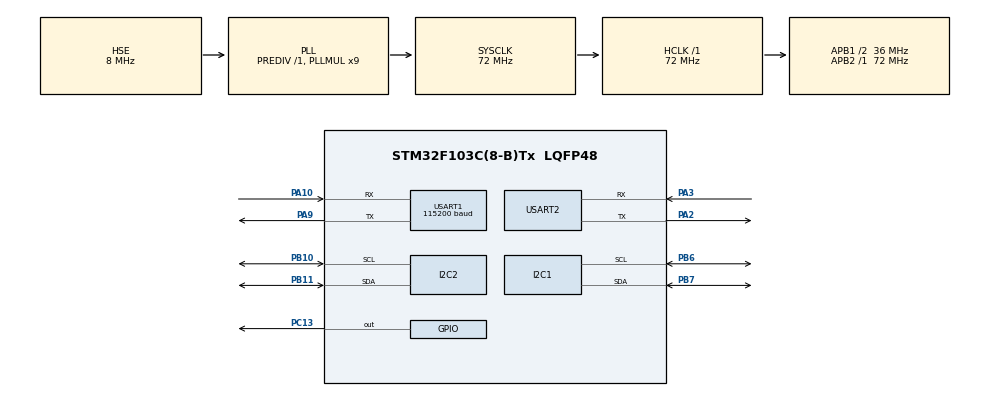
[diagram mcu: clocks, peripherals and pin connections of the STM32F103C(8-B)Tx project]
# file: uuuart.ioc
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Mcu.Family=STM32F1
Mcu.Name=STM32F103C(8-B)Tx
Mcu.Package=LQFP48
NVIC.PriorityGroup=NVIC_PRIORITYGROUP_4
NVIC.USART1_IRQn=true\:0\:0\:false\:false\:true\:true\:true
NVIC.USART2_IRQn=true\:0\:0\:false\:false\:true\:true\:true
PA10.Mode=Asynchronous
PA10.Signal=USART1_RX
PA13.Mode=Trace_Asynchronous_SW
PA13.Signal=SYS_JTMS-SWDIO
PA14.Mode=Trace_Asynchronous_SW
PA14.Signal=SYS_JTCK-SWCLK
PA2.Mode=Asynchronous
PA2.Signal=USART2_TX
PA3.Mode=Asynchronous
PA3.Signal=USART2_RX
PA9.Mode=Asynchronous
PA9.Signal=USART1_TX
PB10.Mode=I2C
PB10.Signal=I2C2_SCL
PB11.Mode=I2C
PB11.Signal=I2C2_SDA
PB3.Mode=Trace_Asynchronous_SW
PB3.Signal=SYS_JTDO-TRACESWO
PB6.Mode=I2C
PB6.Signal=I2C1_SCL
PB7.Mode=I2C
PB7.Signal=I2C1_SDA
PC13-TAMPER-RTC.GPIO_ModeDefaultOutputPP=GPIO_MODE_OUTPUT_PP
PC13-TAMPER-RTC.GPIO_Speed=GPIO_SPEED_FREQ_HIGH
PC13-TAMPER-RTC.PinState=GPIO_PIN_SET
PC13-TAMPER-RTC.Signal=GPIO_Output
PD0-OSC_IN.Mode=HSE-External-Oscillator
PD0-OSC_IN.Signal=RCC_OSC_IN
PD1-OSC_OUT.Mode=HSE-External-Oscillator
PD1-OSC_OUT.Signal=RCC_OSC_OUT
ProjectManager.HeapSize=0x200
ProjectManager.StackSize=0x400
ProjectManager.TargetToolchain=STM32CubeIDE
RCC.AHBFreq_Value=72000000
RCC.APB1CLKDivider=RCC_HCLK_DIV2
RCC.APB1Freq_Value=36000000
RCC.APB1TimFreq_Value=72000000
RCC.APB2Freq_Value=72000000
RCC.APB2TimFreq_Value=72000000
RCC.HCLKFreq_Value=72000000
RCC.PLLMUL=RCC_PLL_MUL9
RCC.PLLSourceVirtual=RCC_PLLSOURCE_HSE
RCC.SYSCLKFreq_VALUE=72000000
RCC.SYSCLKSource=RCC_SYSCLKSOURCE_PLLCLK
RCC.USBFreq_Value=72000000
USART1.BaudRate=115200
USART1.VirtualMode=VM_ASYNC
USART2.VirtualMode=VM_ASYNC
board=custom

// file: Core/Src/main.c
/* USER CODE BEGIN Header */
/**
  ******************************************************************************
  * @file           : main.c
  * @brief          : Main program body
  ******************************************************************************
  * @attention
  *
  * <h2><center>&copy; Copyright (c) 2021 STMicroelectronics.
  * All rights reserved.</center></h2>
  *
  * This software component is licensed by ST under BSD 3-Clause license,
  * the "License"; You may not use this file except in compliance with the
  * License. You may obtain a copy of the License at:
  *                        opensource.org/licenses/BSD-3-Clause
  *
  ******************************************************************************
  */
/* USER CODE END Header */
#include "main.h"

/* USER CODE BEGIN Includes */
#include "mlx90614.h"
#include "max30100.h"
/* USER CODE END Includes */

I2C_HandleTypeDef hi2c1;
I2C_HandleTypeDef hi2c2;

UART_HandleTypeDef huart1;
UART_HandleTypeDef huart2;

void SystemClock_Config(void);
static void MX_GPIO_Init(void);
static void MX_USART1_UART_Init(void);
static void MX_I2C1_Init(void);
static void MX_I2C2_Init(void);
static void MX_USART2_UART_Init(void);

/* USER CODE BEGIN 0 */
float temp_obj1=0 ;
float temp_amb=0 ;
uint16_t t_amb =0;
uint16_t t_amb_sum =0;
uint16_t t_amb_sum1 =0;
uint16_t t_d_sum1 =0;
uint8_t data_spo2_ir=0;
uint8_t data_spo2=0;
uint8_t data_ir=0;
uint8_t data_temp=0;
uint8_t data_temp_amb=0;
//uint16_t t_d[30]={0};
uint16_t t_d=0;
uint16_t t_d_sum =0;
uint16_t ir=0;
uint16_t spo2=0;
uint16_t t=0;
uint8_t counter=1+'0';
uint8_t MAX30100_Start_Flag=1+'0';
uint8_t SPO2_Flag=2+'0';
uint8_t HR_Flag=3+'0';
uint8_t TempTip_StartFlag=4+'0';
uint8_t TempTip_BodyFlag=5+'0';
uint8_t TempTip_AmpFlag=6+'0';
uint8_t TempRest_StartFlag=7+'0';
uint8_t TempRest_BodyFlag=8+'0';
uint8_t TempRest_AmbFlag=9+'0';
HAL_StatusTypeDef r_data_spo2_ir;
/* USER CODE END 0 */

int main(void)
{

  /* MCU Configuration--------------------------------------------------------*/

  /* Reset of all peripherals, Initializes the Flash interface and the Systick. */
  HAL_Init();

  /* Configure the system clock */
  SystemClock_Config();

  /* Initialize all configured peripherals */
  MX_GPIO_Init();
  MX_USART1_UART_Init();
  MX_I2C1_Init();
  MX_I2C2_Init();
  MX_USART2_UART_Init();
  /* USER CODE BEGIN 2 */
  MLX90614_ReadReg(MLX90614_DEFAULT_SA, MLX90614_TOMIN, MLX90614_DBG_ON);
  MLX90614_ReadReg(MLX90614_DEFAULT_SA, MLX90614_TOMAX, MLX90614_DBG_ON);
  MLX90614_ReadReg(MLX90614_DEFAULT_SA, MLX90614_PWMCTRL, MLX90614_DBG_ON);
  MLX90614_ReadReg(MLX90614_DEFAULT_SA, MLX90614_TARANGE, MLX90614_DBG_ON);
  MLX90614_ReadReg(MLX90614_DEFAULT_SA, MLX90614_EMISSIVITY, MLX90614_DBG_ON);
  MLX90614_ReadReg(MLX90614_DEFAULT_SA, MLX90614_CFG1, MLX90614_DBG_ON);
  MLX90614_ReadReg(MLX90614_DEFAULT_SA, MLX90614_SA, MLX90614_DBG_ON);
  MLX90614_ReadReg(MLX90614_DEFAULT_SA, MLX90614_ID1, MLX90614_DBG_ON);
  MLX90614_ReadReg(MLX90614_DEFAULT_SA, MLX90614_ID2, MLX90614_DBG_ON);
  MLX90614_ReadReg(MLX90614_DEFAULT_SA, MLX90614_ID3, MLX90614_DBG_ON);
  MLX90614_ReadReg(MLX90614_DEFAULT_SA, MLX90614_ID4, MLX90614_DBG_ON);
  MLX90614_WriteReg(MLX90614_DEFAULT_SA, MLX90614_CFG1, 0xB7C0);
  MLX90614_ReadReg(MLX90614_DEFAULT_SA, MLX90614_CFG1, MLX90614_DBG_ON);
  MLX90614_WriteReg(MLX90614_DEFAULT_SA, MLX90614_PWMCTRL, 0x1405);
  MLX90614_ReadReg(MLX90614_DEFAULT_SA, MLX90614_PWMCTRL, MLX90614_DBG_ON);
  /* USER CODE END 2 */
  MAX30100_Init(&hi2c2);
  MAX30100_SetSpO2SampleRate(MAX30100_SPO2SR_DEFAULT);
  MAX30100_SetLEDPulseWidth(MAX30100_LEDPW_DEFAULT);
  MAX30100_SetLEDCurrent(MAX30100_LEDCURRENT_DEFAULT, MAX30100_LEDCURRENT_DEFAULT);
  MAX30100_SetMode(MAX30100_SPO2_MODE);
  /* Infinite loop */
  /* USER CODE BEGIN WHILE */
while(1){
//
//	HAL_UART_Transmit(&huart2, &MAX30100_Start_Flag, sizeof(MAX30100_Start_Flag),1000);
//	counter++;
//	HAL_Delay(1000);
//	r_data_spo2_ir=HAL_UART_Receive(&huart2, &data_spo2_ir, sizeof(data_spo2_ir),1000);
//	HAL_Delay(1000);
	//	counter ++;
//
//	 if(data_spo2_ir==50){
//		 HAL_UART_Transmit(&huart2, &MAX30100_Start_Flag, sizeof(MAX30100_Start_Flag),1000);
//		 counter++;
//		 HAL_GPIO_TogglePin(GPIOC,GPIO_PIN_13);
//		 HAL_Delay(1000);
//	 }

//	for (int i=0;i<20;i++)
//	{
//	  temp_obj1 = MLX90614_ReadTemp(MLX90614_DEFAULT_SA, MLX90614_TOBJ1);
//	  HAL_Delay(5);
//
//	  temp_amb = MLX90614_ReadTemp(MLX90614_DEFAULT_SA, MLX90614_TAMB);
//	  HAL_Delay(5);
//	  t_d[i]=temp_obj1 ;
//
//	  t_amb=temp_amb ;
//	  HAL_GPIO_TogglePin(GPIOC, GPIO_PIN_13);
//	  HAL_Delay(100);
//	  t_d_sum+=t_d[i];
//	}
//	t=t_d_sum/20;
    /* USER CODE BEGIN 3 */
	r_data_spo2_ir=HAL_UART_Receive(&huart2, &data_spo2_ir, sizeof(data_spo2_ir),1000);
	if(r_data_spo2_ir==HAL_OK){
		if(data_spo2_ir==49){
			MAX30100_ReadFIFO();
			if(_max30100_mode == MAX30100_SPO2_MODE)
			{
				MAX30100_PlotBothToUART(_max30100_red_sample, _max30100_ir_sample, 16);
			}

			for(int i=0;i<16;i++){
				spo2+=_max30100_red_sample[i];
				ir+=_max30100_ir_sample[i];
			}
			spo2=(spo2/16)+'0';
			ir=(ir/16)+'0';
//			flag='1';
			//data_spo2_ir=0;
			HAL_UART_Transmit(&huart2, &MAX30100_Start_Flag, sizeof(MAX30100_Start_Flag),1000);
			r_data_spo2_ir=HAL_UART_Receive(&huart2, &data_spo2_ir, sizeof(data_spo2_ir),1000);
			if(data_spo2_ir==50){
				HAL_UART_Transmit(&huart2, &SPO2_Flag, sizeof(SPO2_Flag),1000);
				HAL_Delay(1000);
				HAL_UART_Transmit(&huart2, &ir, sizeof(ir),1000);
						//data_spo2_ir=0;
						//			HAL_Delay(100);
				r_data_spo2_ir=HAL_UART_Receive(&huart2, &data_spo2_ir, sizeof(data_spo2_ir),1000);
				if(data_spo2_ir==51){
					HAL_UART_Transmit(&huart2, &HR_Flag, sizeof(HR_Flag),1000);
					HAL_Delay(1000);
					HAL_UART_Transmit(&huart2, &spo2, sizeof(spo2),1000);
					//data_spo2_ir=0;

																}
								}

		}

		if(data_spo2_ir==52){

			temp_amb = MLX90614_ReadTemp(MLX90614_DEFAULT_SA, MLX90614_TAMB);
			temp_obj1 = MLX90614_ReadTemp(MLX90614_DEFAULT_SA, MLX90614_TOBJ1);
			t_d=temp_obj1 ;
			t_amb=temp_amb ;
			//data_spo2_ir=0;
			HAL_UART_Transmit(&huart2, &TempTip_StartFlag, sizeof(TempTip_StartFlag),1000);

			r_data_spo2_ir=HAL_UART_Receive(&huart2, &data_spo2_ir, sizeof(data_spo2_ir),1000);
			HAL_Delay(2000);
			if(data_spo2_ir==53){
				HAL_UART_Transmit(&huart2, &TempTip_BodyFlag, sizeof(TempTip_BodyFlag),1000);
				HAL_Delay(1000);
				HAL_UART_Transmit(&huart2, &t_d, sizeof(t_d),1000);
				data_spo2_ir=0;
				r_data_spo2_ir=HAL_UART_Receive(&huart2, &data_spo2_ir, sizeof(data_spo2_ir),1000);
				if(data_spo2_ir==54){
					HAL_UART_Transmit(&huart2, &TempTip_AmpFlag, sizeof(TempTip_AmpFlag),1000);
					HAL_Delay(1000);
					HAL_UART_Transmit(&huart2, &t_amb, sizeof(t_amb),1000);
					data_spo2_ir=0;
							}

			}

		}

		if(data_spo2_ir==55){

			temp_amb = MLX90614_ReadTemp(MLX90614_DEFAULT_SA, MLX90614_TAMB);
			temp_obj1 = MLX90614_ReadTemp(MLX90614_DEFAULT_SA, MLX90614_TOBJ1);
			t_d=temp_obj1 ;
			t_amb=temp_amb ;
			//data_spo2_ir=0;
			HAL_UART_Transmit(&huart2, &TempRest_StartFlag, sizeof(TempRest_StartFlag),1000);
			r_data_spo2_ir=HAL_UART_Receive(&huart2, &data_spo2_ir, sizeof(data_spo2_ir),1000);
			if(data_spo2_ir==56){
				HAL_UART_Transmit(&huart2, &TempRest_BodyFlag, sizeof(TempRest_BodyFlag),1000);
				HAL_Delay(1000);
				HAL_UART_Transmit(&huart2, &t_d, sizeof(t_d),1000);
				//data_spo2_ir=0;
				r_data_spo2_ir=HAL_UART_Receive(&huart2, &data_spo2_ir, sizeof(data_spo2_ir),1000);
				if(data_spo2_ir==57){
					HAL_UART_Transmit(&huart2, &TempRest_AmbFlag, sizeof(TempRest_AmbFlag),1000);
					HAL_Delay(1000);
					HAL_UART_Transmit(&huart2, &t_amb, sizeof(t_amb),1000);
					data_spo2_ir=0;

				}

			}
		}

	}
	while(r_data_spo2_ir==HAL_TIMEOUT){
		r_data_spo2_ir=HAL_UART_Receive(&huart2, &data_spo2_ir, sizeof(data_spo2_ir),1000);
		if(r_data_spo2_ir==HAL_OK){
			if(data_spo2_ir==49){
					MAX30100_ReadFIFO();
					if(_max30100_mode == MAX30100_SPO2_MODE)
					{
						MAX30100_PlotBothToUART(_max30100_red_sample, _max30100_ir_sample, 16);
					}

					for(int i=0;i<16;i++){
						spo2+=_max30100_red_sample[i];
						ir+=_max30100_ir_sample[i];
					}
					spo2=(spo2/16)+'0';
					ir=(ir/16)+'0';
		//			flag='1';
					//data_spo2_ir=0;
					HAL_UART_Transmit(&huart2, &MAX30100_Start_Flag, sizeof(MAX30100_Start_Flag),1000);
					r_data_spo2_ir=HAL_UART_Receive(&huart2, &data_spo2_ir, sizeof(data_spo2_ir),1000);
					if(data_spo2_ir==50){
						HAL_UART_Transmit(&huart2, &SPO2_Flag, sizeof(SPO2_Flag),1000);
						HAL_Delay(1000);
						HAL_UART_Transmit(&huart2, &ir, sizeof(ir),1000);
						//data_spo2_ir=0;
						//			HAL_Delay(100);
						r_data_spo2_ir=HAL_UART_Receive(&huart2, &data_spo2_ir, sizeof(data_spo2_ir),1000);
						if(data_spo2_ir==51){
							HAL_UART_Transmit(&huart2, &HR_Flag, sizeof(HR_Flag),1000);
							HAL_Delay(1000);
							HAL_UART_Transmit(&huart2, &spo2, sizeof(spo2),1000);
							//data_spo2_ir=0;

																		}
										}

			}

			if(data_spo2_ir==52){

				temp_amb = MLX90614_ReadTemp(MLX90614_DEFAULT_SA, MLX90614_TAMB);
				temp_obj1 = MLX90614_ReadTemp(MLX90614_DEFAULT_SA, MLX90614_TOBJ1);
				t_d=temp_obj1 ;
				t_amb=temp_amb ;
				//data_spo2_ir=0;
				HAL_UART_Transmit(&huart2, &TempTip_StartFlag, sizeof(TempTip_StartFlag),1000);
				r_data_spo2_ir=HAL_UART_Receive(&huart2, &data_spo2_ir, sizeof(data_spo2_ir),1000);
				if(data_spo2_ir==53){
					HAL_UART_Transmit(&huart2, &TempTip_BodyFlag, sizeof(TempTip_BodyFlag),1000);
					HAL_Delay(1000);
					HAL_UART_Transmit(&huart2, &t_d, sizeof(t_d),1000);
					//data_spo2_ir=0;
					r_data_spo2_ir=HAL_UART_Receive(&huart2, &data_spo2_ir, sizeof(data_spo2_ir),1000);
					if(data_spo2_ir==54){
						HAL_UART_Transmit(&huart2, &TempTip_AmpFlag, sizeof(TempTip_AmpFlag),1000);
						HAL_Delay(1000);
						HAL_UART_Transmit(&huart2, &t_amb, sizeof(t_amb),1000);
						data_spo2_ir=0;
								}

				}

			}

			if(data_spo2_ir==55){

				temp_amb = MLX90614_ReadTemp(MLX90614_DEFAULT_SA, MLX90614_TAMB);
				temp_obj1 = MLX90614_ReadTemp(MLX90614_DEFAULT_SA, MLX90614_TOBJ1);
				t_d=temp_obj1 ;
				t_amb=temp_amb ;
				//data_spo2_ir=0;
				HAL_UART_Transmit(&huart2, &TempRest_StartFlag, sizeof(TempRest_StartFlag),1000);
				r_data_spo2_ir=HAL_UART_Receive(&huart2, &data_spo2_ir, sizeof(data_spo2_ir),1000);
				if(data_spo2_ir==56){
					HAL_UART_Transmit(&huart2, &TempRest_BodyFlag, sizeof(TempRest_BodyFlag),1000);
					HAL_Delay(1000);
					HAL_UART_Transmit(&huart2, &t_d, sizeof(t_d),1000);
					//data_spo2_ir=0;
					r_data_spo2_ir=HAL_UART_Receive(&huart2, &data_spo2_ir, sizeof(data_spo2_ir),1000);
					if(data_spo2_ir==57){
						HAL_UART_Transmit(&huart2, &TempRest_AmbFlag, sizeof(TempRest_AmbFlag),1000);
						HAL_Delay(1000);
						HAL_UART_Transmit(&huart2, &t_amb, sizeof(t_amb),1000);
						data_spo2_ir=0;

					}

				}
			}

		}

	}
  }//while
  /* USER CODE END 3 */
}//main

void SystemClock_Config(void)
{
  RCC_OscInitTypeDef RCC_OscInitStruct = {0};
  RCC_ClkInitTypeDef RCC_ClkInitStruct = {0};

  /** Initializes the RCC Oscillators according to the specified parameters
  * in the RCC_OscInitTypeDef structure.
  */
  RCC_OscInitStruct.OscillatorType = RCC_OSCILLATORTYPE_HSE;
  RCC_OscInitStruct.HSEState = RCC_HSE_ON;
  RCC_OscInitStruct.HSEPredivValue = RCC_HSE_PREDIV_DIV1;
  RCC_OscInitStruct.HSIState = RCC_HSI_ON;
  RCC_OscInitStruct.PLL.PLLState = RCC_PLL_ON;
  RCC_OscInitStruct.PLL.PLLSource = RCC_PLLSOURCE_HSE;
  RCC_OscInitStruct.PLL.PLLMUL = RCC_PLL_MUL9;
  if (HAL_RCC_OscConfig(&RCC_OscInitStruct) != HAL_OK)
  {
    Error_Handler();
  }
  /** Initializes the CPU, AHB and APB buses clocks
  */
  RCC_ClkInitStruct.ClockType = RCC_CLOCKTYPE_HCLK|RCC_CLOCKTYPE_SYSCLK
                              |RCC_CLOCKTYPE_PCLK1|RCC_CLOCKTYPE_PCLK2;
  RCC_ClkInitStruct.SYSCLKSource = RCC_SYSCLKSOURCE_PLLCLK;
  RCC_ClkInitStruct.AHBCLKDivider = RCC_SYSCLK_DIV1;
  RCC_ClkInitStruct.APB1CLKDivider = RCC_HCLK_DIV2;
  RCC_ClkInitStruct.APB2CLKDivider = RCC_HCLK_DIV1;

  if (HAL_RCC_ClockConfig(&RCC_ClkInitStruct, FLASH_LATENCY_2) != HAL_OK)
  {
    Error_Handler();
  }
}

static void MX_I2C1_Init(void)
{

  hi2c1.Instance = I2C1;
  hi2c1.Init.ClockSpeed = 100000;
  hi2c1.Init.DutyCycle = I2C_DUTYCYCLE_2;
  hi2c1.Init.OwnAddress1 = 0;
  hi2c1.Init.AddressingMode = I2C_ADDRESSINGMODE_7BIT;
  hi2c1.Init.DualAddressMode = I2C_DUALADDRESS_DISABLE;
  hi2c1.Init.OwnAddress2 = 0;
  hi2c1.Init.GeneralCallMode = I2C_GENERALCALL_DISABLE;
  hi2c1.Init.NoStretchMode = I2C_NOSTRETCH_DISABLE;
  if (HAL_I2C_Init(&hi2c1) != HAL_OK)
  {
    Error_Handler();
  }

}

static void MX_I2C2_Init(void)
{

  hi2c2.Instance = I2C2;
  hi2c2.Init.ClockSpeed = 100000;
  hi2c2.Init.DutyCycle = I2C_DUTYCYCLE_2;
  hi2c2.Init.OwnAddress1 = 0;
  hi2c2.Init.AddressingMode = I2C_ADDRESSINGMODE_7BIT;
  hi2c2.Init.DualAddressMode = I2C_DUALADDRESS_DISABLE;
  hi2c2.Init.OwnAddress2 = 0;
  hi2c2.Init.GeneralCallMode = I2C_GENERALCALL_DISABLE;
  hi2c2.Init.NoStretchMode = I2C_NOSTRETCH_DISABLE;
  if (HAL_I2C_Init(&hi2c2) != HAL_OK)
  {
    Error_Handler();
  }

}

static void MX_USART1_UART_Init(void)
{

  huart1.Instance = USART1;
  huart1.Init.BaudRate = 115200;
  huart1.Init.WordLength = UART_WORDLENGTH_8B;
  huart1.Init.StopBits = UART_STOPBITS_1;
  huart1.Init.Parity = UART_PARITY_NONE;
  huart1.Init.Mode = UART_MODE_TX_RX;
  huart1.Init.HwFlowCtl = UART_HWCONTROL_NONE;
  huart1.Init.OverSampling = UART_OVERSAMPLING_16;
  if (HAL_UART_Init(&huart1) != HAL_OK)
  {
    Error_Handler();
  }

}

static void MX_USART2_UART_Init(void)
{

  huart2.Instance = USART2;
  huart2.Init.BaudRate = 9600;
  huart2.Init.WordLength = UART_WORDLENGTH_8B;
  huart2.Init.StopBits = UART_STOPBITS_1;
  huart2.Init.Parity = UART_PARITY_NONE;
  huart2.Init.Mode = UART_MODE_TX_RX;
  huart2.Init.HwFlowCtl = UART_HWCONTROL_NONE;
  huart2.Init.OverSampling = UART_OVERSAMPLING_16;
  if (HAL_UART_Init(&huart2) != HAL_OK)
  {
    Error_Handler();
  }

}

static void MX_GPIO_Init(void)
{
  GPIO_InitTypeDef GPIO_InitStruct = {0};

  /* GPIO Ports Clock Enable */
  __HAL_RCC_GPIOC_CLK_ENABLE();
  __HAL_RCC_GPIOD_CLK_ENABLE();
  __HAL_RCC_GPIOA_CLK_ENABLE();
  __HAL_RCC_GPIOB_CLK_ENABLE();

  /*Configure GPIO pin Output Level */
  HAL_GPIO_WritePin(GPIOC, GPIO_PIN_13, GPIO_PIN_SET);

  /*Configure GPIO pin : PC13 */
  GPIO_InitStruct.Pin = GPIO_PIN_13;
  GPIO_InitStruct.Mode = GPIO_MODE_OUTPUT_PP;
  GPIO_InitStruct.Pull = GPIO_NOPULL;
  GPIO_InitStruct.Speed = GPIO_SPEED_FREQ_HIGH;
  HAL_GPIO_Init(GPIOC, &GPIO_InitStruct);

}

void Error_Handler(void)
{
}

/************************ (C) COPYRIGHT STMicroelectronics *****END OF FILE****/
